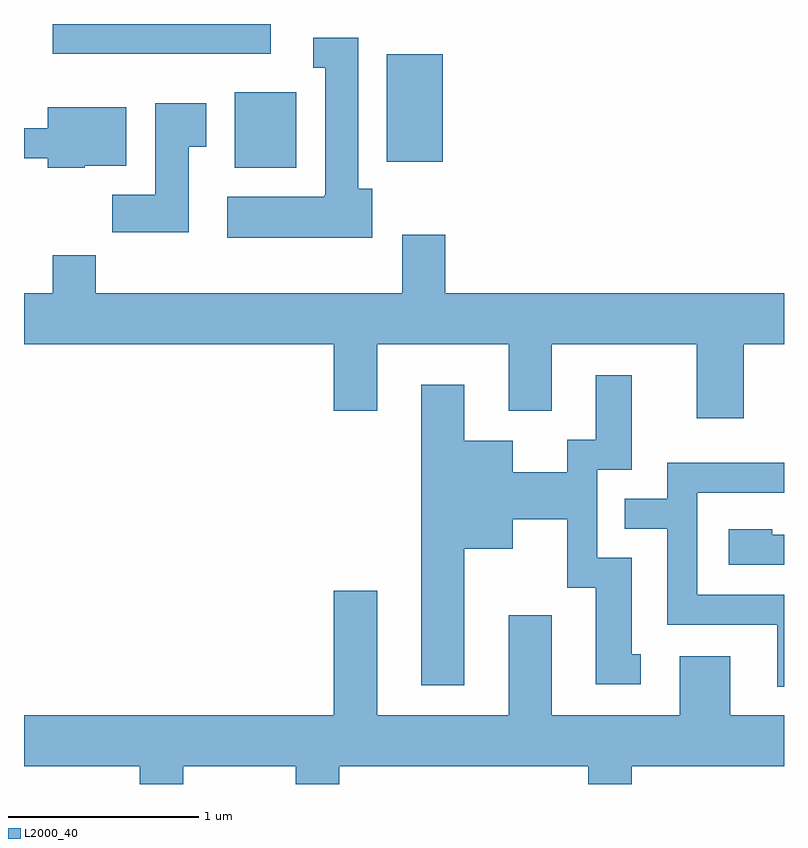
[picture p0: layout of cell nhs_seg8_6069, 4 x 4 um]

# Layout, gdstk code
import gdstk
lib = gdstk.Library(unit=1e-6, precision=1e-09)
def R(c, l, rs):  # rectangles x0, y0, x1, y1
    for r in rs: c.add(gdstk.rectangle(r[:2], r[2:], *l))
def P(c, l, *ps):  # polygons
    for p in ps: c.add(gdstk.Polygon(p, *l))
L2000_40 = (2000, 40)

nhs_seg8_6069 = lib.new_cell('nhs_seg8_6069')
R(nhs_seg8_6069, L2000_40, [(368.721,1819.586,369.044,1819.984), (369.521,1819.616,369.814,1820.184), (367.761,1820.186,368.909,1820.342)])
P(nhs_seg8_6069, L2000_40, [(369.444,1819.474),(369.369,1819.474),(369.369,1820.269),(369.133,1820.269),(369.133,1820.111),(369.196,1820.111),(369.196,1819.44),(369.19,1819.44),(369.19,1819.434),(368.681,1819.434),(368.681,1819.216),(369.444,1819.216)],
  [(368.479,1819.696),(368.569,1819.696),(368.569,1819.924),(368.301,1819.924),(368.301,1819.444),(368.076,1819.444),(368.076,1819.246),(368.479,1819.246)],
  [(367.93,1819.596),(368.149,1819.596),(368.149,1819.904),(367.736,1819.904),(367.736,1819.794),(367.611,1819.794),(367.611,1819.636),(367.736,1819.636),(367.736,1819.586),(367.93,1819.586)],
  [(371.399,1818.656),(371.611,1818.656),(371.611,1818.924),(369.829,1818.924),(369.829,1819.234),(369.601,1819.234),(369.601,1818.924),(367.989,1818.924),(367.989,1819.124),(367.761,1819.124),(367.761,1818.924),(367.611,1818.924),(367.611,1818.656),(369.241,1818.656),(369.241,1818.306),(369.469,1818.306),(369.469,1818.656),(370.161,1818.656),(370.161,1818.306),(370.389,1818.306),(370.389,1818.656),(371.151,1818.656),(371.151,1818.266),(371.399,1818.266)],
  [(369.929,1817.581),(370.184,1817.581),(370.184,1817.736),(370.471,1817.736),(370.471,1817.376),(370.621,1817.376),(370.621,1816.866),(370.858,1816.866),(370.858,1817.024),(370.809,1817.024),(370.809,1817.534),(370.629,1817.534),(370.629,1817.996),(370.809,1817.996),(370.809,1818.494),(370.621,1818.494),(370.621,1818.154),(370.471,1818.154),(370.471,1817.984),(370.184,1817.984),(370.184,1818.149),(369.929,1818.149),(369.929,1818.444),(369.701,1818.444),(369.701,1816.861),(369.929,1816.861)],
  [(371.611,1817.339),(371.154,1817.339),(371.154,1817.876),(371.611,1817.876),(371.611,1818.034),(370.996,1818.034),(370.996,1817.844),(370.773,1817.844),(370.773,1817.686),(370.996,1817.686),(370.996,1817.181),(371.576,1817.181),(371.576,1816.853),(371.611,1816.853)],
  [(371.611,1817.654),(371.549,1817.654),(371.549,1817.684),(371.321,1817.684),(371.321,1817.496),(371.611,1817.496)],
  [(368.449,1816.436),(369.041,1816.436),(369.041,1816.342),(369.269,1816.342),(369.269,1816.436),(370.581,1816.436),(370.581,1816.342),(370.809,1816.342),(370.809,1816.436),(371.611,1816.436),(371.611,1816.704),(371.329,1816.704),(371.329,1817.014),(371.061,1817.014),(371.061,1816.704),(370.389,1816.704),(370.389,1817.229),(370.161,1817.229),(370.161,1816.704),(369.469,1816.704),(369.469,1817.359),(369.241,1817.359),(369.241,1816.704),(367.611,1816.704),(367.611,1816.436),(368.221,1816.436),(368.221,1816.342),(368.449,1816.342)])

lib.write_gds('nhs_seg8_6069.gds')
